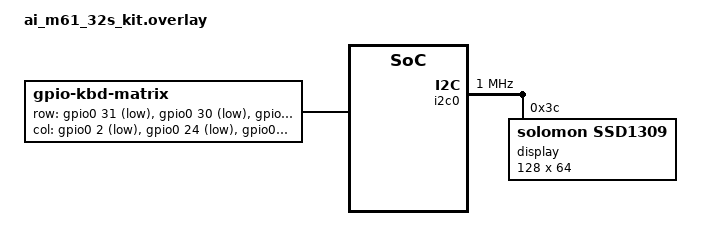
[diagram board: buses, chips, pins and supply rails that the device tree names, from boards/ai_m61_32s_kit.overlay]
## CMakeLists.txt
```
cmake_minimum_required(VERSION 3.20.0)

find_package(Zephyr REQUIRED HINTS $ENV{ZEPHYR_BASE})
project(scene_previewer)

target_sources(app PRIVATE src/main.c)

zephyr_include_directories(include)

set(TOOLS_FOLDER ${CMAKE_CURRENT_SOURCE_DIR}/../../../zephyr_3d_game_template2/tools)

set(SCENE_TO_PREVIEW ${CONFIG_SCENE_TO_PREVIEW})
zephyr_compile_definitions(
-DSCENE_TO_PREVIEW=${SCENE_TO_PREVIEW}
)

add_custom_command(
OUTPUT generated/generated_objects.h
COMMAND python3 ${CMAKE_CURRENT_SOURCE_DIR}/generate_objects.py ${TOOLS_FOLDER} ${CMAKE_CURRENT_SOURCE_DIR}/${CONFIG_DATA_PATH} generated
WORKING_DIRECTORY ${CMAKE_CURRENT_BINARY_DIR}
)

add_custom_target(generate_objects DEPENDS generated/generated_objects.h)

zephyr_include_directories(${CMAKE_CURRENT_BINARY_DIR}/generated)

add_dependencies(app generate_objects)
```

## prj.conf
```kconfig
CONFIG_DISPLAY=y
CONFIG_LOG=y
CONFIG_L3=y
CONFIG_ENGINE=y
#CONFIG_LOG_DEFAULT_LEVEL=4
CONFIG_HEAP_MEM_POOL_SIZE=4096
CONFIG_INPUT=y
CONFIG_TIMING_FUNCTIONS=y
CONFIG_SPEED_OPTIMIZATIONS=y
CONFIG_LOG_PERFORMANCE=n
CONFIG_TEST_RANDOM_GENERATOR=y
CONFIG_TIMER_RANDOM_GENERATOR=y
CONFIG_GPIO=y

#LVGL
CONFIG_LVGL=y
CONFIG_LV_USE_LOG=y
CONFIG_LV_Z_FLUSH_THREAD=n
CONFIG_LV_Z_MEM_POOL_SIZE=8192
CONFIG_LV_FONT_UNSCII_8=y
CONFIG_LV_CONF_MINIMAL=y
CONFIG_LV_USE_LABEL=y
CONFIG_COMPILER_OPT="-Ofast -ffast-math"

CONFIG_DATA_PATH="../../data"
CONFIG_STRATEGY_UI=y
CONFIG_STRATEGY_GAME=y
```

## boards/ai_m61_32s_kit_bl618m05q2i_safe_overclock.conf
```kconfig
CONFIG_TARGET_PROCESS_FPS=30
CONFIG_TARGET_RENDER_FPS=25
CONFIG_RESOLUTION_X=128
CONFIG_RESOLUTION_Y=64
CONFIG_SSD1327_DEFAULT_CONTRAST=160
CONFIG_SSD1327_CONV_BUFFER_LINES=64
CONFIG_SSD1325_DEFAULT_CONTRAST=160
CONFIG_SSD1325_CONV_BUFFER_LINES=64
CONFIG_SSD1322_DEFAULT_GRAYSCALE=y
CONFIG_SSD1322_CONV_BUFFER_LINES=128
CONFIG_LV_DEF_REFR_PERIOD=5
CONFIG_ISR_STACK_SIZE=8192
CONFIG_MAIN_STACK_SIZE=8192
CONFIG_BLIT_THREAD_STACK=8192
CONFIG_RENDER_THREAD_STACK=8192
CONFIG_PROCESS_THREAD_STACK=8192
CONFIG_LOG_BUFFER_SIZE=4096
CONFIG_COMPILER_OPT="-Ofast -ffast-math -funroll-loops -finline-functions -falign-functions=4 -falign-jumps=4 -falign-loops=4 -fpeel-loops"
```

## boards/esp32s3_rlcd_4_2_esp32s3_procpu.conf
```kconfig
CONFIG_TARGET_PROCESS_FPS=30
CONFIG_TARGET_RENDER_FPS=10
CONFIG_RESOLUTION_X=78
CONFIG_RESOLUTION_Y=100
CONFIG_LV_DEF_REFR_PERIOD=5
CONFIG_ISR_STACK_SIZE=8192
CONFIG_MAIN_STACK_SIZE=8192
CONFIG_BLIT_THREAD_STACK=8192
CONFIG_RENDER_THREAD_STACK=8192
CONFIG_PROCESS_THREAD_STACK=8192
CONFIG_LOG_BUFFER_SIZE=4096
CONFIG_COMPILER_OPT="-Ofast -ffast-math -funroll-loops -finline-functions"
CONFIG_ST730X_CONV_BUFFER_LINE_CNT=400
```

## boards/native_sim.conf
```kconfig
CONFIG_SDL_DISPLAY_ZOOM_PCT=1000
#CONFIG_SDL_DISPLAY_ZOOM_PCT=400
#CONFIG_SDL_DISPLAY_DEFAULT_PIXEL_FORMAT_RGB_565=y
CONFIG_RESOLUTION_X=128
CONFIG_RESOLUTION_Y=64
CONFIG_TARGET_PROCESS_FPS=30
CONFIG_TARGET_RENDER_FPS=30
CONFIG_SYS_CLOCK_TICKS_PER_SEC=1000
CONFIG_LV_COLOR_DEPTH_8=y
CONFIG_HEAP_MEM_POOL_SIZE=65536
CONFIG_MAIN_STACK_SIZE=65536
CONFIG_LV_Z_MEM_POOL_SIZE=131072
```

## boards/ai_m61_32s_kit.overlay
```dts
#include <zephyr/dt-bindings/input/keymap.h>

/* Use 80 MHz Flash clock*/
&clk_flash {
	read-delay = <1>;
	divider = <1>;
};

// &pinctrl {
// 	dbi0_default: dbi0_default {
// 		group1 {
// 			pinmux = <GPIO12_DBI_C_SCL>,
// 				 <GPIO14_DBI_C_SDA>;
// 			drive-strength = <1>;
// 			input-schmitt-enable;
// 			bias-pull-down;
// 		};
// 	};
// };
//
//
// &dbi0 {
// 	status = "okay";
//
// 	cs-gpios = <&gpio0 16 GPIO_ACTIVE_LOW>;
// 	dc-gpios = <&gpio0 15 GPIO_ACTIVE_LOW>;
// 	reset-gpios = <&gpio0 17 GPIO_ACTIVE_LOW>;
// 	#address-cells = <1>;
// 	#size-cells = <0>;
//
// 	// display: ssd1327@0 {
// 	// 	compatible = "solomon,ssd1327";
// 	// 	mipi-max-frequency = <21000000>;
// 	// 	reg = <0>;
// 	// 	width = <128>;
// 	// 	height = <64>;
// 	// 	prechargep = <0x5>;
// 	// 	precharge-voltage = <0x7>;
// 	// 	remap-value = <0x53>;
// 	// 	oscillator-freq = <0xA1>;
// 	// 	display-offset = <0x40>;
// 	// 	start-line = <0>;
// 	// 	multiplex-ratio = <0x3f>;
// 	// 	phase-length = <0x29>;
// 	// 	mipi-mode = "MIPI_DBI_MODE_SPI_4WIRE";
// 	// 	grayscale-table = [04 06 08 0A 0C 0D 10 12 14 16 18 1C 20 24 3C];
// 	// };
//
// 	ssd1325: ssd1325@0 {
// 		compatible = "solomon,ssd1325";
// 		mipi-max-frequency = <2000000>;
// 		reg = <0>;
// 		width = <128>;
// 		height = <64>;
// 		prechargep = <0x0>;
// 		precharge-voltage = <0x10>;
// 		remap-value = <0x52>;
// 		oscillator-freq = <0x91>;
// 		display-offset = <0x4c>;
// 		start-line = <0>;
// 		multiplex-ratio = <0x3f>;
// 		phase-length = <0x22>;
// 		vcomh-voltage = <0x2>;
// 		mipi-mode = "MIPI_DBI_MODE_SPI_4WIRE";
// 		grayscale-table = [ 01 01 01 02 02 02 03 03 04 04 05 05 06 06 07 ];
// 	};
//
// 	dmas = <&dma0 0 0x14>;
// 	dma-names = "tx";
// 	pinctrl-names = "default";
// 	pinctrl-0 = <&dbi0_default>;
// };
//
// &spi0 {
// 	status = "disabled";
// };


// &i2c0 {
// 	status = "okay";
// 	
// 	clock-frequency = <I2C_BITRATE_FAST_PLUS>;
// 
// 	display: ssd1306@3c {
// 		compatible = "sinowealth,sh1106";
// 		reg = <0x3c>;
// 		width = <128>;
// 		height = <64>;
// 		segment-offset = <0>;
// 		page-offset = <0>;
// 		display-offset = <0>;
// 		multiplex-ratio = <63>;
// 		segment-remap;
// 		com-invdir;
// 		prechargep = <0x22>;
// 	};	
// };

&i2c0 {
	status = "okay";

	clock-frequency = <I2C_BITRATE_FAST_PLUS>;

	display: ssd1306@3c {
		compatible = "solomon,ssd1309";
		reg = <0x3c>;
		width = <128>;
		height = <64>;
		segment-offset = <0>;
		page-offset = <0>;
		display-offset = <0>;
		multiplex-ratio = <63>;
		segment-remap;
		com-invdir;
		prechargep = <0x22>;
	};
};


// &i2c0 {
// 	status = "okay";
//
// 	clock-frequency = <I2C_BITRATE_FAST_PLUS>;
//
// 	display: ssd1306@3c {
// 	compatible = "solomon,ssd1315";
// 		reg = <0x3c>;
// 		width = <128>;
// 		height = <64>;
// 		segment-offset = <0>;
// 		page-offset = <0>;
// 		display-offset = <0>;
// 		multiplex-ratio = <63>;
// 		segment-remap;
// 		com-invdir;
// 		prechargep = <0x22>;
// 	};
// };

/ {
	chosen {
		zephyr,display = &display;
	};
};

&gpio0 {
	status = "okay";
};

/ {
	kbd-matrix {
		compatible = "gpio-kbd-matrix";
		row-gpios = <&gpio0 31 (GPIO_PULL_UP | GPIO_ACTIVE_LOW)>,
					<&gpio0 30 (GPIO_PULL_UP | GPIO_ACTIVE_LOW)>,
					<&gpio0 25 (GPIO_PULL_UP | GPIO_ACTIVE_LOW)>,
					<&gpio0 27 (GPIO_PULL_UP | GPIO_ACTIVE_LOW)>,
					<&gpio0 29 (GPIO_PULL_UP | GPIO_ACTIVE_LOW)>;
		col-gpios = <&gpio0 2 GPIO_ACTIVE_LOW>,
					<&gpio0 24 GPIO_ACTIVE_LOW>,
					<&gpio0 28 GPIO_ACTIVE_LOW>,
					<&gpio0 26 GPIO_ACTIVE_LOW>;
		keymap {
			compatible = "input-keymap";
			keymap = <
				MATRIX_KEY(3, 1, INPUT_KEY_W)
				MATRIX_KEY(4, 1, INPUT_KEY_S)
				MATRIX_KEY(4, 0, INPUT_KEY_A)
				MATRIX_KEY(4, 2, INPUT_KEY_D)
				MATRIX_KEY(3, 0, INPUT_KEY_LEFT)
				MATRIX_KEY(3, 2, INPUT_KEY_RIGHT)
				MATRIX_KEY(1, 3, INPUT_KEY_UP)
				MATRIX_KEY(2, 3, INPUT_KEY_DOWN)
				MATRIX_KEY(3, 3, INPUT_KEY_LEFTSHIFT)
				MATRIX_KEY(4, 3, INPUT_KEY_SPACE)
			>;
			row-size = <5>;
			col-size = <4>;
		};
	};
};
```

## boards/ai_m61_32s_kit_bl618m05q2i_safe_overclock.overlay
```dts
#include <zephyr/dt-bindings/input/keymap.h>

&pinctrl {
	spi0_default: spi0_default {
		group1 {
			pinmux = <GPIO11_SPI_MOSI>, <GPIO13_SPI_SCLK>;
			drive-strength = <1>;
			input-schmitt-enable;
		};
	};
};

/ {

	mipi_dbi_ssd1327 {
		compatible = "zephyr,mipi-dbi-spi";
		spi-dev = <&spi0>;
		dc-gpios = <&gpio0 15 GPIO_ACTIVE_HIGH>;
		reset-gpios = <&gpio0 17 GPIO_ACTIVE_LOW>;
		write-only;
		#address-cells = <1>;
		#size-cells = <0>;

		display: ssd1327@0 {
			compatible = "solomon,ssd1327";
			mipi-max-frequency = <20000000>;
			reg = <0>;
			width = <128>;
			height = <64>;
			prechargep = <0x5>;
			precharge-voltage = <0x7>;
			remap-value = <0x53>;
			oscillator-freq = <0xA1>;
			display-offset = <0x40>;
			start-line = <0>;
			multiplex-ratio = <0x3f>;
			phase-length = <0x29>;
			mipi-mode = "MIPI_DBI_MODE_SPI_4WIRE";
			grayscale-table = [04 06 08 0A 0C 0D 10 12 14 16 18 1C 20 24 3C];
		};
		// display: ssd1322@0 {
		// 	compatible = "solomon,ssd1322";
		// 	mipi-max-frequency = <21000000>;
		// 	reg = <0>;
		// 	oscillator-freq = <0xe1>;
		// 	width = <240>;
		// 	height = <128>;
		// 	column-offset=<24>;
		// 	row-offset=<0>;
		// 	start-line = <0>;
		// 	mux-ratio = <127>;
		// 	vcomh-voltage = <0x6>;
		// 	precharge-voltage = <0x1f>;
		// 	phase-length = <0xd2>;
		// 	mipi-mode = "MIPI_DBI_MODE_SPI_4WIRE";
		// 	remap-nibble;
		// 	/* Commented remaps, offset is 36, otherwise 24 */
		// 	remap-columns;
		// 	remap-rows;
		// 	remap-com-odd-even-split;
		// 	grayscale-enhancement;
		// 	grayscale-enhancement-lg;
		// 	grayscale-table = [34 38 3A 40 48 50 58 60 68 70 78 80 96 A0 AA];
		// };
	};
};

&spi0 {
	status = "okay";
	cs-gpios = <&gpio0 16 GPIO_ACTIVE_LOW>;

	pinctrl-0 = <&spi0_default>;
	pinctrl-names = "default";
};

// &i2c0 {
// 	status = "okay";
//
// 	clock-frequency = <I2C_BITRATE_FAST_PLUS>;
//
// 	display: ssd1306@3c {
// 		compatible = "sinowealth,sh1106";
// 		reg = <0x3c>;
// 		width = <128>;
// 		height = <64>;
// 		segment-offset = <0>;
// 		page-offset = <0>;
// 		display-offset = <0>;
// 		multiplex-ratio = <63>;
// 		segment-remap;
// 		com-invdir;
// 		prechargep = <0x22>;
// 	};
// };

// &i2c0 {
// 	status = "okay";
//
// 	clock-frequency = <I2C_BITRATE_FAST_PLUS>;
//
// 	display: ssd1309@3c {
// 		compatible = "solomon,ssd1309fb";
// 		reg = <0x3c>;
// 		width = <128>;
// 		height = <64>;
// 		segment-offset = <0>;
// 		page-offset = <0>;
// 		display-offset = <0>;
// 		multiplex-ratio = <63>;
// 		segment-remap;
// 		com-invdir;
// 		prechargep = <0x22>;
// 	};
// };


/ {
	chosen {
		zephyr,display = &display;
	};
};

&gpio0 {
	status = "okay";
};

/ {
	kbd-matrix {
		compatible = "gpio-kbd-matrix";
		row-gpios = <&gpio0 31 (GPIO_PULL_UP | GPIO_ACTIVE_LOW)>,
					<&gpio0 30 (GPIO_PULL_UP | GPIO_ACTIVE_LOW)>,
					<&gpio0 25 (GPIO_PULL_UP | GPIO_ACTIVE_LOW)>,
					<&gpio0 27 (GPIO_PULL_UP | GPIO_ACTIVE_LOW)>,
					<&gpio0 29 (GPIO_PULL_UP | GPIO_ACTIVE_LOW)>;
		col-gpios = <&gpio0 2 GPIO_ACTIVE_LOW>,
					<&gpio0 24 GPIO_ACTIVE_LOW>,
					<&gpio0 28 GPIO_ACTIVE_LOW>,
					<&gpio0 26 GPIO_ACTIVE_LOW>;
		keymap {
			compatible = "input-keymap";
			keymap = <
				MATRIX_KEY(3, 1, INPUT_KEY_W)
				MATRIX_KEY(4, 1, INPUT_KEY_S)
				MATRIX_KEY(4, 0, INPUT_KEY_A)
				MATRIX_KEY(4, 2, INPUT_KEY_D)
				MATRIX_KEY(3, 0, INPUT_KEY_LEFT)
				MATRIX_KEY(3, 2, INPUT_KEY_RIGHT)
				MATRIX_KEY(1, 3, INPUT_KEY_UP)
				MATRIX_KEY(2, 3, INPUT_KEY_DOWN)
				MATRIX_KEY(3, 3, INPUT_KEY_LEFTSHIFT)
				MATRIX_KEY(4, 3, INPUT_KEY_SPACE)
			>;
			row-size = <5>;
			col-size = <4>;
		};
	};
};


&clk_aupll {
	top-frequency = <DT_FREQ_M(480)>;
};

&clk_wifipll {
	top-frequency = <BL61X_WIFIPLL_TOP_FREQ>;
};

&clk_flash {
	clocks = <&clk_wifipll BL61X_WIFIPLL_ID_DIV1>;
	read-delay = <1>;
	/delete-property/ rx-clock-invert;
};
```

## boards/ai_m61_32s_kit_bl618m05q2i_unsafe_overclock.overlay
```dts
#include <zephyr/dt-bindings/input/keymap.h>

&pinctrl {
	spi0_default: spi0_default {
		group1 {
			pinmux = <GPIO11_SPI_MOSI>, <GPIO13_SPI_SCLK>;
			drive-strength = <1>;
			input-schmitt-enable;
		};
	};
};

/ {

	mipi_dbi_ssd1327 {
		compatible = "zephyr,mipi-dbi-spi";
		spi-dev = <&spi0>;
		dc-gpios = <&gpio0 15 GPIO_ACTIVE_HIGH>;
		reset-gpios = <&gpio0 17 GPIO_ACTIVE_LOW>;
		write-only;
		#address-cells = <1>;
		#size-cells = <0>;

		display: ssd1327@0 {
			compatible = "solomon,ssd1327";
/* 21 MHz because at 640MHz PLL is a bit unstable and causes desync when clock domain crosses from XCLK domain (SPI  <= 20MHz) and PLL domain (SPI > 20MHz using PLL divider) */
			mipi-max-frequency = <21000000>;
			reg = <0>;
			width = <128>;
			height = <64>;
			prechargep = <0x5>;
			precharge-voltage = <0x7>;
			remap-value = <0x53>;
			oscillator-freq = <0xA1>;
			display-offset = <0x40>;
			start-line = <0>;
			multiplex-ratio = <0x3f>;
			phase-length = <0x29>;
			mipi-mode = "MIPI_DBI_MODE_SPI_4WIRE";
			grayscale-table = [04 06 08 0A 0C 0D 10 12 14 16 18 1C 20 24 3C];
		};

		// display: ssd1325@0 {
		// 	compatible = "solomon,ssd1325";
		// 	mipi-max-frequency = <20000000>;
		// 	reg = <0>;
		// 	width = <128>;
		// 	height = <64>;
		// 	prechargep = <0x0>;
		// 	precharge-voltage = <0x10>;
		// 	remap-value = <0x50>;
		// 	oscillator-freq = <0x91>;
		// 	display-offset = <0x4c>;
		// 	start-line = <0>;
		// 	multiplex-ratio = <0x3f>;
		// 	phase-length = <0x22>;
		// 	vcomh-voltage = <0x2>;
		// 	mipi-mode = "MIPI_DBI_MODE_SPI_4WIRE";
		// 	grayscale-table = [ 02 02 02 02 02 02 02 02 03 04 05 06 07 07 07 ];
		// };
	};
};

&spi0 {
	status = "okay";
	cs-gpios = <&gpio0 16 GPIO_ACTIVE_LOW>;

	pinctrl-0 = <&spi0_default>;
	pinctrl-names = "default";
};

// &i2c0 {
// 	status = "okay";
//
// 	clock-frequency = <I2C_BITRATE_FAST_PLUS>;
//
// 	display: ssd1306@3c {
// 		compatible = "sinowealth,sh1106";
// 		reg = <0x3c>;
// 		width = <128>;
// 		height = <64>;
// 		segment-offset = <0>;
// 		page-offset = <0>;
// 		display-offset = <0>;
// 		multiplex-ratio = <63>;
// 		segment-remap;
// 		com-invdir;
// 		prechargep = <0x22>;
// 	};
// };

// &i2c0 {
// 	status = "okay";
//
// 	clock-frequency = <I2C_BITRATE_FAST_PLUS>;
//
// 	display: ssd1309@3c {
// 		compatible = "solomon,ssd1309fb";
// 		reg = <0x3c>;
// 		width = <128>;
// 		height = <64>;
// 		segment-offset = <0>;
// 		page-offset = <0>;
// 		display-offset = <0>;
// 		multiplex-ratio = <63>;
// 		segment-remap;
// 		com-invdir;
// 		prechargep = <0x22>;
// 	};
// };


/ {
	chosen {
		zephyr,display = &display;
	};
};

&gpio0 {
	status = "okay";
};

/ {
	kbd-matrix {
		compatible = "gpio-kbd-matrix";
		row-gpios = <&gpio0 31 (GPIO_PULL_UP | GPIO_ACTIVE_LOW)>,
					<&gpio0 30 (GPIO_PULL_UP | GPIO_ACTIVE_LOW)>,
					<&gpio0 25 (GPIO_PULL_UP | GPIO_ACTIVE_LOW)>,
					<&gpio0 27 (GPIO_PULL_UP | GPIO_ACTIVE_LOW)>,
					<&gpio0 29 (GPIO_PULL_UP | GPIO_ACTIVE_LOW)>;
		col-gpios = <&gpio0 2 GPIO_ACTIVE_LOW>,
					<&gpio0 24 GPIO_ACTIVE_LOW>,
					<&gpio0 28 GPIO_ACTIVE_LOW>,
					<&gpio0 26 GPIO_ACTIVE_LOW>;
		keymap {
			compatible = "input-keymap";
			keymap = <
				MATRIX_KEY(3, 1, INPUT_KEY_W)
				MATRIX_KEY(4, 1, INPUT_KEY_S)
				MATRIX_KEY(4, 0, INPUT_KEY_A)
				MATRIX_KEY(4, 2, INPUT_KEY_D)
				MATRIX_KEY(3, 0, INPUT_KEY_LEFT)
				MATRIX_KEY(3, 2, INPUT_KEY_RIGHT)
				MATRIX_KEY(1, 3, INPUT_KEY_UP)
				MATRIX_KEY(2, 3, INPUT_KEY_DOWN)
				MATRIX_KEY(3, 3, INPUT_KEY_LEFTSHIFT)
				MATRIX_KEY(4, 3, INPUT_KEY_SPACE)
			>;
			row-size = <5>;
			col-size = <4>;
		};
	};
};


&clk_aupll {
	top-frequency = <DT_FREQ_M(640)>;
};

&clk_wifipll {
	top-frequency = <BL61X_WIFIPLL_TOP_FREQ>;
};
```

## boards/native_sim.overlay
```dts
#include <zephyr/dt-bindings/input/input-event-codes.h>

&sdl_dc {
	compatible = "zephyr,sdl-dc";
	height = <64>;
	width = <128>;
	pixel-format = <PANEL_PIXEL_FORMAT_L_8>;
};

/ {
	soc {
		evdev: evdev {
			compatible = "zephyr,native-linux-evdev";
		};
	};
};
```

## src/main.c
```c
#include <zephyr/kernel.h>
#include <zephyr/device.h>
#include <zephyr/drivers/display.h>
#include <zephyr/input/input.h>
#include <zephyr/timing/timing.h>
#include <stdio.h>
#include <stdlib.h>
#include <zephyr/random/random.h>
#include <math.h>

#include <zephyr/logging/log.h>
LOG_MODULE_REGISTER(main);

#include "engine.h"

#include "utility.h"

#include "game/state.h"
#include "ui/ui.h"

static const struct device *display_device = DEVICE_DT_GET(DT_CHOSEN(zephyr_display));

int blit_display(L3_COLORTYPE *buffer, uint16_t x, uint16_t y, uint16_t size_x, uint16_t size_y)
{
	return blit_select_for_me(buffer, x, y, size_x, size_y);
}

static const char *speaks[] = {
	"WOG WOG",
	"SHAPRFIUGFIUEWIUFBHYIKEGAGKBGEKBJJBAGJBKGJBKGDJBKDGBJKDGBJKGDBJKDGBJKDGBDJGK",
	"Lorem Ipsum is simply dummy text of the printing and typesetting industry.",
	"Lorem Ipsum has been the industry's standard dummy text ever since 1966, when designers at Letraset and James Mosley, the librarian at St Bride Printing Library in L.",
	"\0\0"
};

static void speak_cb(void *userdata)
{
	const char **speakies = userdata;

	if (speakies[1][0] != 0) {
		ui_set_speak_cb(speak_cb, &speakies[1], speakies[1]);
	}
}

static void ui_test_scene_init(Engine_Scene *scene)
{
	ui_set_speak_cb(speak_cb, speaks, speaks[0]);
	return;
}

static uint32_t cnt = 0;

static void ui_test_scene_pf(Engine_Scene *scene)
{
	if (cnt % 60 == 59) {
		input_report(0, INPUT_EV_KEY, INPUT_KEY_SPACE, 1, false, K_FOREVER);
		input_report(0, INPUT_EV_KEY, INPUT_KEY_SPACE, 0, false, K_FOREVER);
	}
	cnt++;
}

static void ui_test_scene_deinit(Engine_Scene *scene)
{
	return;
}

static Filter_f ui_test_scene_filters[] = {
	//filter_bloom,
};

Engine_Scene ui_test_scene = {
	.pf = ui_test_scene_pf,
	.inf = ui_test_scene_init,
	.dif = ui_test_scene_deinit,
	.data = NULL,
	.filters = ui_test_scene_filters,
	.filters_count = ARRAY_SIZE(ui_test_scene_filters),
	.statics = NULL,
	.statics_count = 0,
};

int main()
{
	for (int i = 0; i < DT_ZEPHYR_DISPLAYS_COUNT; i++) {
		if (!device_is_ready(engine_display_devices[i])) {
			LOG_ERR("Display device %d is not ready", i);
			return -ENODEV;
		}
	}

	timing_init();
	timing_start();

	k_msleep(100);
	display_blanking_on(display_device);
	display_blanking_off(display_device);
	//display_set_contrast(display_device, 210);

	init_engine(&engine_pf);

	//engine_getcamera()->focalLength = 12;

	k_msleep(1000);

	engine_switchscene(&ui_test_scene);

	return 0;
}
```
